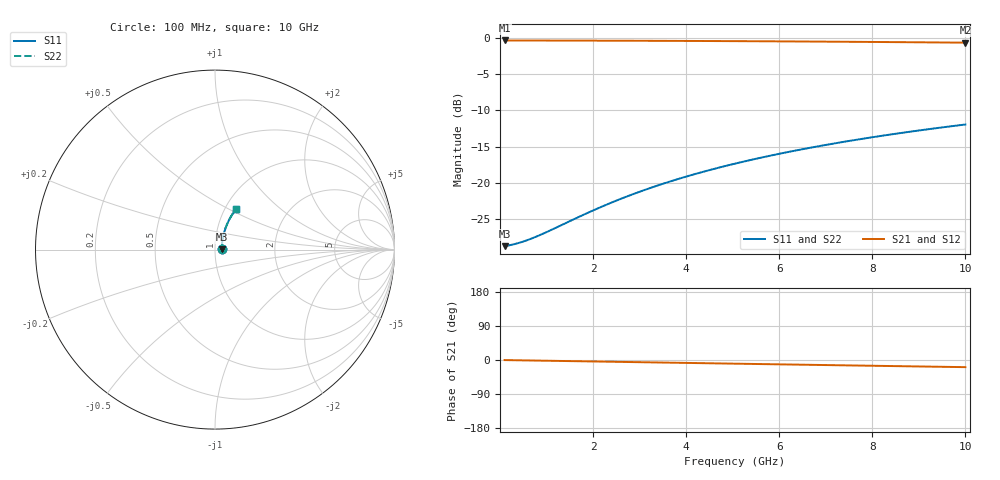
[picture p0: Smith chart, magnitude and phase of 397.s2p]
# Hz S RI R 50.00
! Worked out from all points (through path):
!   100 points, 100 MHz to 10 GHz, reference 50 ohm
!   highest |S21| = -0.32 dB at 100 MHz (marker M1); lowest = -0.6 dB at 10 GHz (marker M2)
!   group delay of S21, straight-line fit = 5.25 ps
!   lowest |S11| = -28.8 dB at 100 MHz (marker M3), VSWR 1.08, Z = 53.8 + j0.267 ohm
!   |S11| at or under -10 dB: start of sweep to end of sweep
!   |S22| runs from -28.8 to -11.9 dB; largest |S21 - S12| = 0
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1e8  0.0363 0.00248  0.9637 -0.00325  0.9637 -0.00325  0.0363 0.00248
3e8  0.0368 0.00744  0.9632 -0.00973  0.9632 -0.00973  0.0368 0.00744
4e8  0.037 0.00992  0.963 -0.013  0.963 -0.013  0.037 0.00992
5e8  0.0372 0.0124  0.9628 -0.0162  0.9628 -0.0162  0.0372 0.0124
7e8  0.0376 0.0173  0.9624 -0.0227  0.9624 -0.0227  0.0376 0.0173
1e9  0.0382 0.0248  0.9618 -0.0324  0.9618 -0.0324  0.0382 0.0248
1.8e9  0.0405 0.0444  0.9594 -0.0581  0.9594 -0.0581  0.0405 0.0444
2.2e9  0.042 0.0542  0.9579 -0.071  0.9579 -0.071  0.042 0.0542
2.6e9  0.0437 0.0639  0.9561 -0.0837  0.9561 -0.0837  0.0437 0.0639
3e9  0.0457 0.0735  0.954 -0.0964  0.954 -0.0964  0.0457 0.0735
3.4e9  0.0479 0.0831  0.9517 -0.109  0.9517 -0.109  0.0479 0.0831
3.8e9  0.0504 0.0926  0.9492 -0.1216  0.9492 -0.1216  0.0504 0.0926
4.2e9  0.0531 0.102  0.9464 -0.1341  0.9464 -0.1341  0.0531 0.102
4.6e9  0.056 0.1113  0.9433 -0.1464  0.9433 -0.1464  0.056 0.1113
5.1e9  0.06 0.1228  0.9392 -0.1618  0.9392 -0.1618  0.06 0.1228
5.5e9  0.0635 0.1319  0.9356 -0.1739  0.9356 -0.1739  0.0635 0.1319
5.9e9  0.0672 0.1408  0.9318 -0.1859  0.9318 -0.1859  0.0672 0.1408
6.7e9  0.0752 0.1584  0.9234 -0.2095  0.9234 -0.2095  0.0752 0.1584
7.5e9  0.084 0.1753  0.9142 -0.2326  0.9142 -0.2326  0.084 0.1753
8.4e9  0.095 0.1936  0.9029 -0.2579  0.9029 -0.2579  0.095 0.1936
9.2e9  0.1055 0.2093  0.892 -0.2796  0.892 -0.2796  0.1055 0.2093
1e10  0.1166 0.2242  0.8803 -0.3007  0.8803 -0.3007  0.1166 0.2242
